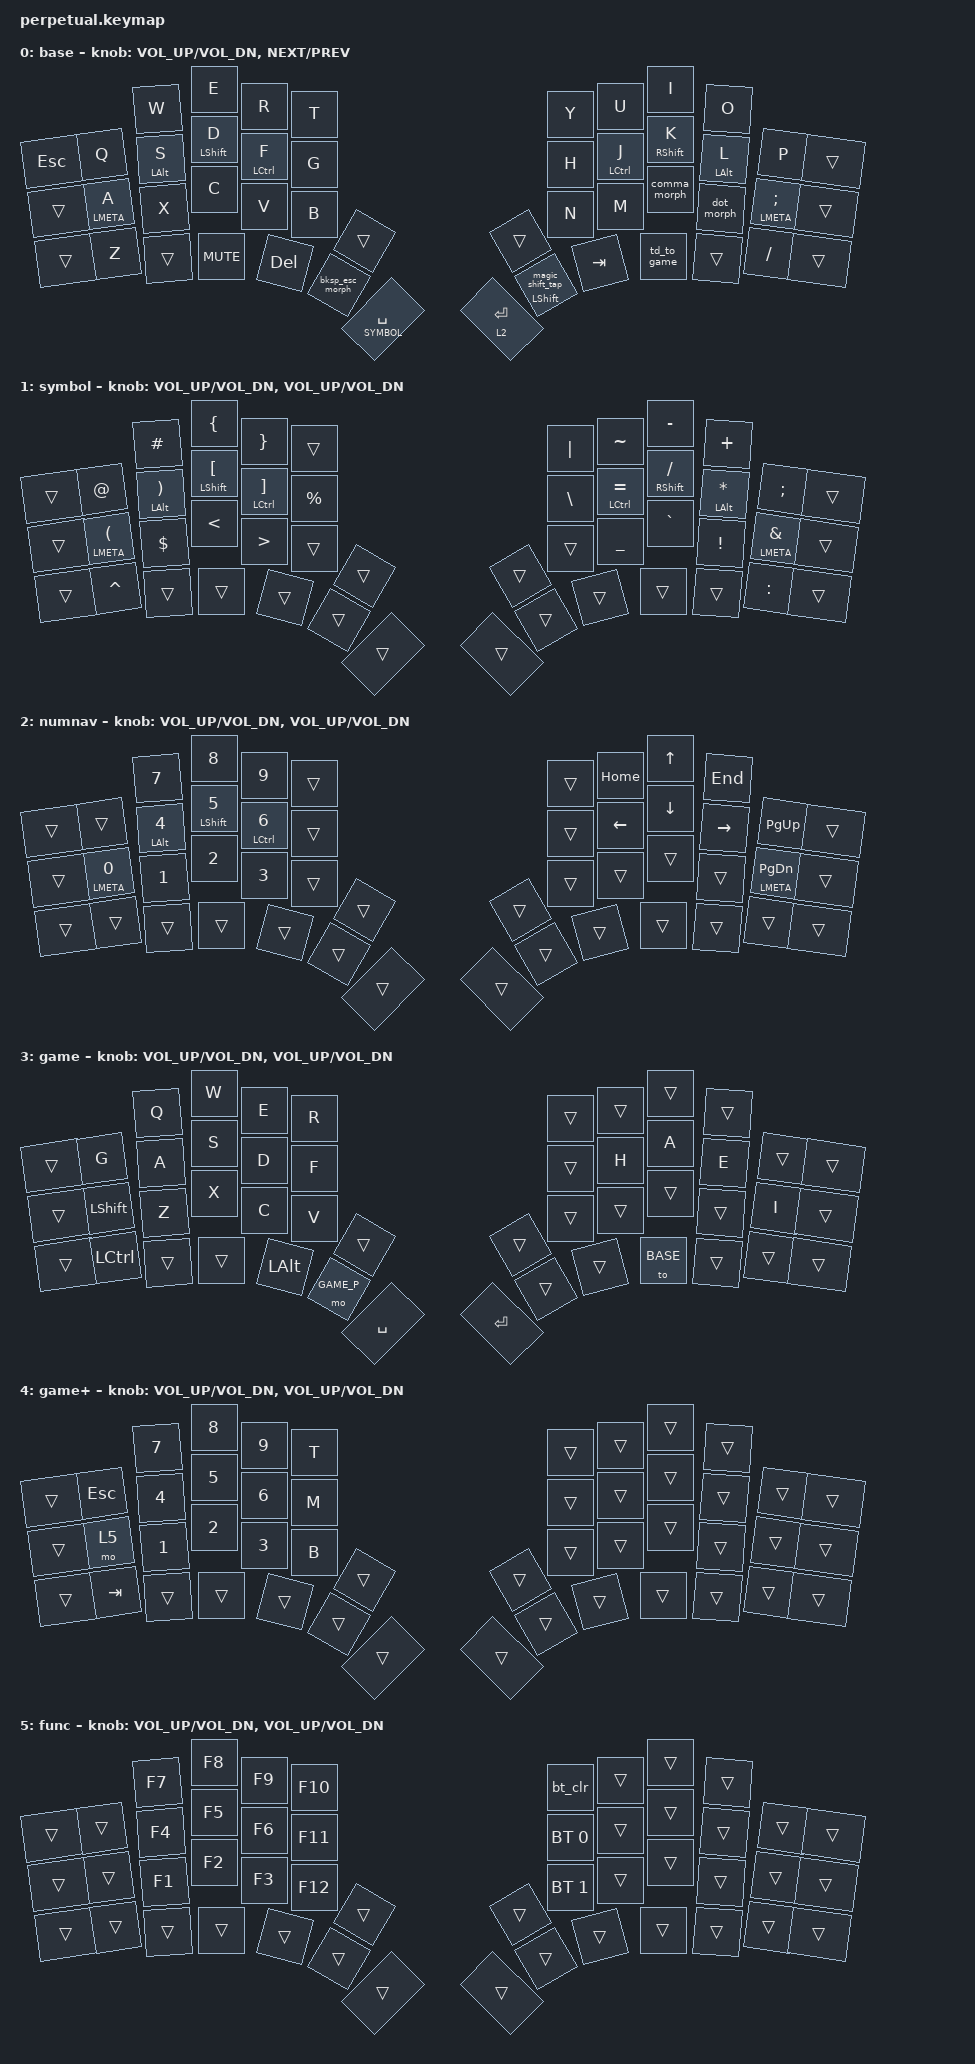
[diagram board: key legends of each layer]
// Editor: https://nickcoutsos.github.io/keymap-editor/

#include <behaviors.dtsi>
#include <dt-bindings/zmk/bt.h>
#include <dt-bindings/zmk/keys.h>

#define BASE    0
#define SYMBOL  1
#define NUMNAV  2
#define GAME    3
#define GAME_P  4
#define FUNC    5

/*
 * Key positions -- 48 keys, 24 per half. Row 3's outer two slots are NOT thumb
 * keys: col 0/11 is the ARROW key (physically under the ring column) and
 * col 1/10 is the UNDER-MCU key, which the rotary encoder's push switch is
 * wired in parallel with. See perpetual.dtsi for why.
 *
 *   0   1   2   3   4   5        6   7   8   9  10  11     top
 *  12  13  14  15  16  17       18  19  20  21  22  23     home
 *  24  25  26  27  28  29       30  31  32  33  34  35     bottom
 *  36  37  38  39  40  41       42  43  44  45  46  47     arrow/encoder/thumbs
 *  ^   ^                                         ^   ^
 *  |   under-MCU (encoder push)   under-MCU (encoder push) |
 *  arrow                                              arrow
 */
/* Global defaults */

&sk {
    release-after-ms = <900>;
    quick-release;
};

&sl { ignore-modifiers; };

&lt {
    flavor = "balanced";
    tapping-term-ms = <200>;
    quick-tap-ms = <175>;
};

/ {
    behaviors {
        /* Home Row Mods */

        hrm_l: hrm_l {
            compatible = "zmk,behavior-hold-tap";
            bindings = <&kp>, <&kp>;

            #binding-cells = <2>;
            tapping-term-ms = <280>;
            quick-tap-ms = <175>;
            flavor = "balanced";
            hold-trigger-on-release;
            require-prior-idle-ms = <150>;

            // every key on the RIGHT half

            hold-trigger-key-positions = <6 7 8 9 10 11 18 19 20 21 22 23 30 31 32 33 34 35 42 43 44 45 46 47>;
        };

        hrm_r: hrm_r {
            compatible = "zmk,behavior-hold-tap";
            bindings = <&kp>, <&kp>;

            #binding-cells = <2>;
            tapping-term-ms = <280>;
            quick-tap-ms = <175>;
            flavor = "balanced";
            hold-trigger-on-release;
            require-prior-idle-ms = <150>;

            // every key on the LEFT half

            hold-trigger-key-positions = <0 1 2 3 4 5 12 13 14 15 16 17 24 25 26 27 28 29 36 37 38 39 40 41>;
        };

        // Tap: comma | Shift + tap: semicolon | Ctrl + shift + tap: <

        comma_morph: comma_morph {
            compatible = "zmk,behavior-mod-morph";
            bindings = <&kp COMMA>, <&comma_inner_morph>;

            #binding-cells = <0>;
            mods = <(MOD_LSFT)>;
        };

        comma_inner_morph: comma_inner_morph {
            compatible = "zmk,behavior-mod-morph";
            bindings = <&kp SEMI>, <&kp LT>;

            #binding-cells = <0>;
            mods = <(MOD_LCTL|MOD_RCTL)>;
        };

        // Tap: dot | Shift + tap: colon | Ctrl + shift + tap: >

        dot_morph: dot_morph {
            compatible = "zmk,behavior-mod-morph";
            bindings = <&kp DOT>, <&dot_inner_morph>;

            #binding-cells = <0>;
            mods = <(MOD_LSFT)>;
        };

        dot_inner_morph: dot_inner_morph {
            compatible = "zmk,behavior-mod-morph";
            bindings = <&kp COLON>, <&kp GT>;

            #binding-cells = <0>;
            mods = <(MOD_LCTL|MOD_RCTL)>;
        };

        // Tap: qmark | Shift + tap: excl

        qexcl: qexcl {
            compatible = "zmk,behavior-mod-morph";
            bindings = <&kp QMARK>, <&kp EXCL>;

            #binding-cells = <0>;
            mods = <(MOD_LSFT)>;
        };

        // Tap: bspc | Shift + tap: esc

        bksp_esc_morph: bksp_esc_morph {
            compatible = "zmk,behavior-mod-morph";
            bindings = <&kp BSPC>, <&kp ESC>;

            #binding-cells = <0>;
            mods = <(MOD_LSFT)>;
        };

        // Tap: BT_CLR | Shift + tap: BT_CLR_ALL

        bt_clr: bt_clr {
            compatible = "zmk,behavior-mod-morph";
            bindings = <&bt BT_CLR>, <&bt BT_CLR_ALL>;

            #binding-cells = <0>;
            mods = <(MOD_LSFT|MOD_RSFT)>;
        };

        // Tap: sticky-shift | Shift + tap: caps_word | Hold: shift

        magic_shift: magic_shift {
            compatible = "zmk,behavior-hold-tap";
            bindings = <&kp>, <&magic_shift_tap>;

            #binding-cells = <2>;
            tapping-term-ms = <200>;
            quick-tap-ms = <175>;
            flavor = "balanced";
        };

        magic_shift_tap: magic_shift_tap {
            compatible = "zmk,behavior-mod-morph";
            bindings = <&sk LSHFT>, <&caps_word>;

            #binding-cells = <0>;
            mods = <(MOD_LSFT|MOD_RSFT)>;
        };

        // Double-tap to go to game layer

        td_to_game: td_to_game {
            compatible = "zmk,behavior-tap-dance";
            #binding-cells = <0>;
            tapping-term-ms = <200>;
            bindings = <&none>, <&to GAME>;
        };
    };

    conditional_layers {
        compatible = "zmk,conditional-layers";

        func_layer {
            if-layers = <SYMBOL NUMNAV>;
            then-layer = <FUNC>;
        };

        game_func {
            if-layers = <GAME_P FUNC>;
            then-layer = <FUNC>;
        };
    };

    keymap {
        compatible = "zmk,keymap";

        base_layer {
            display-name = "base";
            bindings = <
&kp ESC  &kp Q           &kp W          &kp E           &kp R            &kp T             &kp Y        &kp U                 &kp I           &kp O          &kp P              &trans
&trans   &hrm_l LMETA A  &hrm_l LALT S  &hrm_l LSHFT D  &hrm_l LCTRL F   &kp G             &kp H        &hrm_r LCTRL J        &hrm_r RSHFT K  &hrm_r LALT L  &hrm_r LMETA SEMI  &trans
&trans   &kp Z           &kp X          &kp C           &kp V            &kp B             &kp N        &kp M                 &comma_morph    &dot_morph     &kp FSLH           &trans
&trans   &trans          &kp C_MUTE     &kp DEL         &bksp_esc_morph  &lt SYMBOL SPACE  &lt 2 ENTER  &magic_shift LSHFT 0  &kp TAB         &td_to_game    &trans             &trans
            >;

            sensor-bindings =
                <&inc_dec_kp C_VOL_UP C_VOL_DN>,
                <&inc_dec_kp C_NEXT C_PREV>;
        };

        symbol_layer {
            display-name = "symbol";
            bindings = <
&trans  &kp AT             &kp HASH          &kp LBRC           &kp RBRC           &trans     &kp PIPE  &kp TILDE           &kp MINUS          &kp PLUS          &kp SEMI           &trans
&trans  &hrm_l LMETA LPAR  &hrm_l LALT RPAR  &hrm_l LSHFT LBKT  &hrm_l LCTRL RBKT  &kp PRCNT  &kp BSLH  &hrm_r LCTRL EQUAL  &hrm_r RSHFT FSLH  &hrm_r LALT STAR  &hrm_r LMETA AMPS  &trans
&trans  &kp CARET          &kp DLLR          &kp LT             &kp GT             &trans     &trans    &kp UNDER           &kp GRAVE          &kp EXCL          &kp COLON          &trans
&trans  &trans             &trans            &trans             &trans             &trans     &trans    &trans              &trans             &trans            &trans             &trans
            >;

            sensor-bindings = <&inc_dec_kp C_VOL_UP C_VOL_DN &inc_dec_kp C_VOL_UP C_VOL_DN>;
        };

        numnav_layer {
            display-name = "numnav";
            bindings = <
&trans  &trans           &kp N7          &kp N8           &kp N9           &trans  &trans  &kp HOME  &kp UP    &kp END    &kp PG_UP           &trans
&trans  &hrm_l LMETA N0  &hrm_l LALT N4  &hrm_l LSHFT N5  &hrm_l LCTRL N6  &trans  &trans  &kp LEFT  &kp DOWN  &kp RIGHT  &hrm_r LMETA PG_DN  &trans
&trans  &trans           &kp N1          &kp N2           &kp N3           &trans  &trans  &trans    &trans    &trans     &trans              &trans
&trans  &trans           &trans          &trans           &trans           &trans  &trans  &trans    &trans    &trans     &trans              &trans
            >;

            sensor-bindings = <&inc_dec_kp C_VOL_UP C_VOL_DN &inc_dec_kp C_VOL_UP C_VOL_DN>;
        };

        game_layer {
            display-name = "game";
            bindings = <
&trans  &kp G      &kp Q   &kp W     &kp E       &kp R      &trans     &trans  &trans  &trans    &trans  &trans
&trans  &kp LSHFT  &kp A   &kp S     &kp D       &kp F      &trans     &kp H   &kp A   &kp E     &kp I   &trans
&trans  &kp LCTRL  &kp Z   &kp X     &kp C       &kp V      &trans     &trans  &trans  &trans    &trans  &trans
&trans  &trans     &trans  &kp LALT  &mo GAME_P  &kp SPACE  &kp ENTER  &trans  &trans  &to BASE  &trans  &trans
            >;

            sensor-bindings = <&inc_dec_kp C_VOL_UP C_VOL_DN &inc_dec_kp C_VOL_UP C_VOL_DN>;
        };

        game_plus_layer {
            display-name = "game+";
            bindings = <
&trans  &kp ESC  &kp N7  &kp N8  &kp N9  &kp T   &trans  &trans  &trans  &trans  &trans  &trans
&trans  &mo 5    &kp N4  &kp N5  &kp N6  &kp M   &trans  &trans  &trans  &trans  &trans  &trans
&trans  &kp TAB  &kp N1  &kp N2  &kp N3  &kp B   &trans  &trans  &trans  &trans  &trans  &trans
&trans  &trans   &trans  &trans  &trans  &trans  &trans  &trans  &trans  &trans  &trans  &trans
            >;

            sensor-bindings = <&inc_dec_kp C_VOL_UP C_VOL_DN &inc_dec_kp C_VOL_UP C_VOL_DN>;
        };

        function_layer {
            display-name = "func";
            bindings = <
&trans  &trans  &kp F7  &kp F8  &kp F9  &kp F10  &bt_clr       &trans  &trans  &trans  &trans  &trans
&trans  &trans  &kp F4  &kp F5  &kp F6  &kp F11  &bt BT_SEL 0  &trans  &trans  &trans  &trans  &trans
&trans  &trans  &kp F1  &kp F2  &kp F3  &kp F12  &bt BT_SEL 1  &trans  &trans  &trans  &trans  &trans
&trans  &trans  &trans  &trans  &trans  &trans   &trans        &trans  &trans  &trans  &trans  &trans
            >;

            sensor-bindings = <&inc_dec_kp C_VOL_UP C_VOL_DN &inc_dec_kp C_VOL_UP C_VOL_DN>;
        };
    };
};
